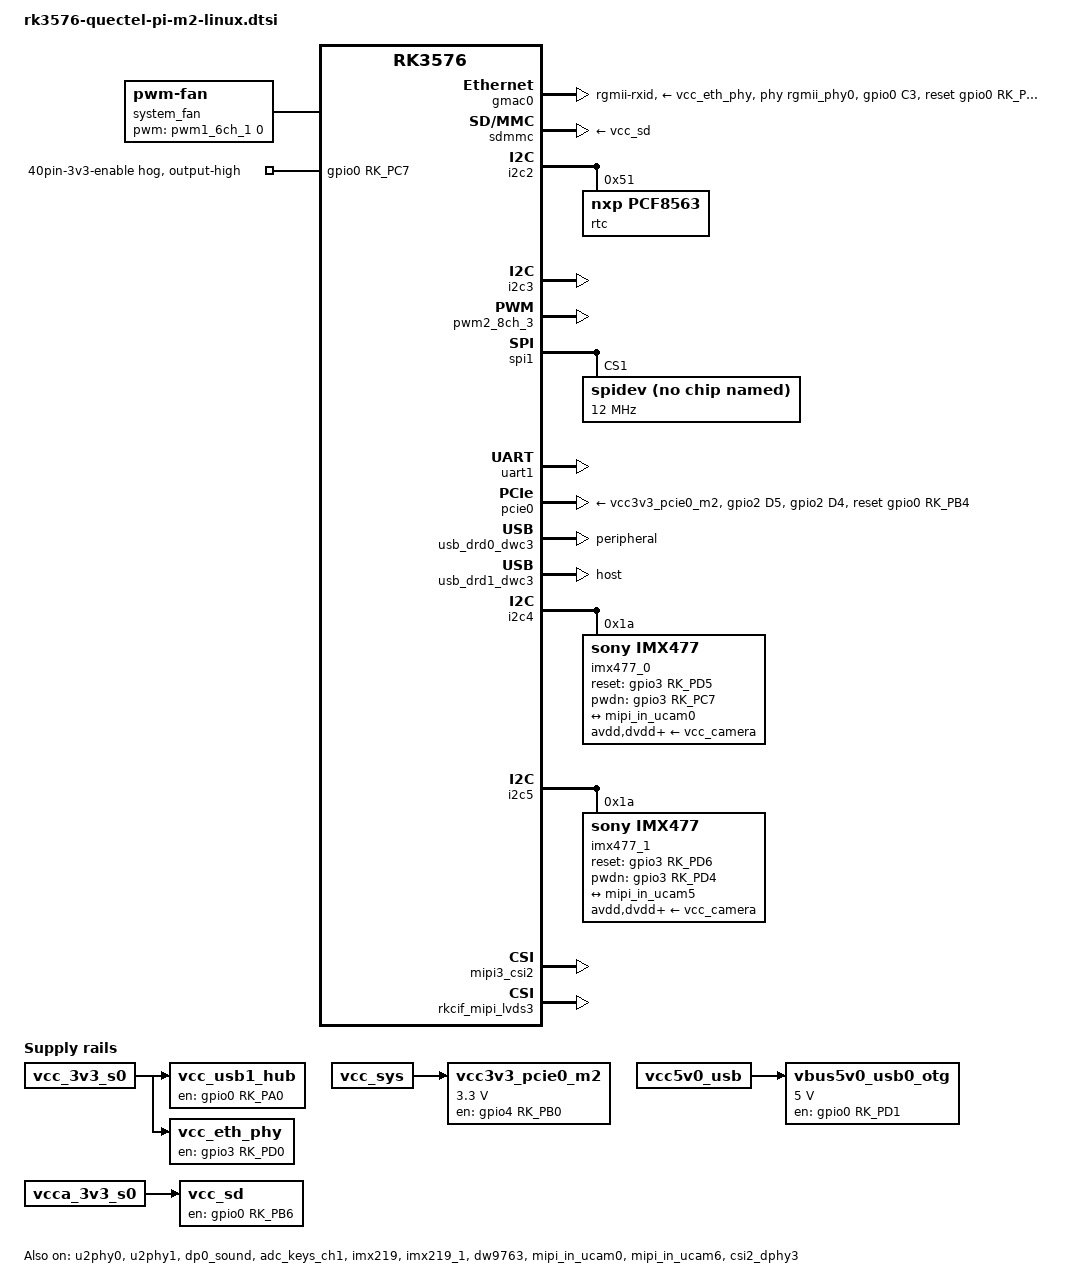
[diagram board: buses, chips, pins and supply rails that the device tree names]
// SPDX-License-Identifier: (GPL-2.0+ OR MIT)
/*
 * Linux board include wrapper for Quectel PI M2.
 * Common hardware shared with SMARC lives in rk3576-quectel-pi-common.dtsi.
 * M2-specific hardware (YT8531 PHY reset, USB Hub, display, etc.) lives here.
 */

#include "rk3576-quectel-pi-common.dtsi"
#include "rk3576-quectel-pi-m2-audio.dtsi"
#include "display/dsi-panel-waveshare-8inch-c-m2.dtsi"
#include "display/rk3576-hdmi-m2.dtsi"

/* ========== M2-specific regulators ========== */

/ {
	vcc_usb1_hub: vcc-usb1-hub {
		compatible = "regulator-fixed";
		regulator-name = "vcc_usb1_hub";
		enable-active-high;
		gpio = <&gpio0 RK_PA0 GPIO_ACTIVE_HIGH>;
		startup-delay-us = <5000>;
		regulator-boot-on;
		regulator-always-on;
		vin-supply = <&vcc_3v3_s0>;
	};

	vcc_eth_phy: vcc-eth-phy {
		compatible = "regulator-fixed";
		regulator-name = "vcc_eth_phy";
		enable-active-high;
		gpio = <&gpio3 RK_PD0 GPIO_ACTIVE_HIGH>;
		startup-delay-us = <10000>;
		regulator-boot-on;
		regulator-always-on;
		vin-supply = <&vcc_3v3_s0>;
	};

	vcc3v3_pcie0_m2: vcc3v3-pcie0-m2 {
		compatible = "regulator-fixed";
		regulator-name = "vcc3v3_pcie0_m2";
		regulator-min-microvolt = <3300000>;
		regulator-max-microvolt = <3300000>;
		enable-active-high;
		/* M2 netlist: U0201 pin300 PCIE1_WAKE_N -> PCIE0_PWR_EN_3V3 */
		gpio = <&gpio4 RK_PB0 GPIO_ACTIVE_HIGH>;
		startup-delay-us = <5000>;
		regulator-boot-on;
		regulator-always-on;
		vin-supply = <&vcc_sys>;
	};

	/*
	 * USB0 OTG VBUS supply (USB-A port power).
	 * M2 netlist: U0201 pin25 LCD_RST -> R0528 -> U0505 ETA6280S2F EN
	 * (pin4), high active. ETA6280S2F OUT (pin1) -> USB0_PORT_OTG -> USB-A
	 * VBUS. Driving GPIO0_D1 high enables 5V output on the USB-A port.
	 *
	 * Managed by the dwc3/usb2-phy driver: host mode enables VBUS
	 * (phy_set_mode -> PHY_MODE_USB_HOST -> rockchip_set_vbus_power true),
	 * peripheral/device mode disables it (PHY_MODE_USB_DEVICE -> false).
	 * This gives active VBUS cut-off in peripheral mode, preventing reverse
	 * power feed when the board is attached to a host PC.
	 */
	vbus5v0_usb0_otg: vbus5v0-usb0-otg {
		compatible = "regulator-fixed";
		regulator-name = "vbus5v0_usb0_otg";
		regulator-min-microvolt = <5000000>;
		regulator-max-microvolt = <5000000>;
		enable-active-high;
		gpio = <&gpio0 RK_PD1 GPIO_ACTIVE_HIGH>;
		pinctrl-names = "default";
		pinctrl-0 = <&usb0_vbus_en>;
		vin-supply = <&vcc5v0_usb>;
	};

	system_fan: pwm-fan {
		compatible = "pwm-fan";
		#cooling-cells = <2>;
		pwms = <&pwm1_6ch_1 0 200000 0>;
		cooling-levels = <0 64 128 192 255>;
		rockchip,temp-trips = <
			30000 1
			40000 2
			50000 3
			60000 4
		>;
	};
};

&vcc_3v3_s0 {
	/*
	 * M2 netlist: GPIO4_A7 / DCDC_EN_3V3 enables the board 3.3V rail
	 * feeding U0509 IN -> WIFI_BT_3V3 -> FCS960K VBAT.
	 */
	enable-active-high;
	gpio = <&gpio4 RK_PA7 GPIO_ACTIVE_HIGH>;
	pinctrl-names = "default";
	pinctrl-0 = <&dcdc_3v3_en>;
	vin-supply = <&vcc_sys>;

	regulator-state-mem {
		regulator-on-in-suspend;
		regulator-suspend-microvolt = <3300000>;
	};
};

&vcc3v3_pcie1 {
	/* GPIO4_A7 is DCDC_EN_3V3 on M2, not a PCIe1 private enable. */
	/delete-property/ gpios;
	/delete-property/ enable-active-high;
	status = "disabled";
};

/* ========== M2 FCS960K Wi-Fi/BT ========== */

&sdio_pwrseq {
	/* GPIO2_B3 is FCS960K PWRKEY/WLAN_EN, not an SDIO reset line. */
	/delete-property/ reset-gpios;
};

&wireless_wlan {
	wifi_chip_type = "aic8800";
	pinctrl-0 = <&wifi_host_wake_irq &wifi_vbat_gpio>;
	WIFI,vbat_gpio = <&gpio3 RK_PA3 GPIO_ACTIVE_HIGH>;
	WIFI,poweren_gpio = <&gpio2 RK_PB3 GPIO_ACTIVE_HIGH>;
	wakeup-source;
};

&wireless_bluetooth {
	/delete-property/ clock-names;
	/delete-property/ BT,reset_gpio;
	wakeup-source;
};

&wifi_poweren_gpio {
	rockchip,pins = <2 RK_PB3 RK_FUNC_GPIO &pcfg_output_high_pull_up>;
};

&pinctrl {
	wireless-wlan {
		wifi_vbat_gpio: wifi-vbat-gpio {
			rockchip,pins = <3 RK_PA3 RK_FUNC_GPIO &pcfg_output_high_pull_up>;
		};
	};

	usb {
		/* GPIO0_D1, USB0_PWR_EN -> ETA6280S2F EN, high active */
		usb0_vbus_en: usb0-vbus-en {
			rockchip,pins = <0 RK_PD1 RK_FUNC_GPIO &pcfg_pull_none>;
		};
	};

	power {
		dcdc_3v3_en: dcdc-3v3-en {
			rockchip,pins = <4 RK_PA7 RK_FUNC_GPIO &pcfg_output_high_pull_up>;
		};
	};
};

&rockchip_suspend {
	/*
	 * Keep the upstream 3.3V rail and FCS960K control pins asserted in
	 * BL31 deep sleep. Hardware probing showed GPIO3_A3/WIFI_BT_PWR_EN_3V3
	 * and GPIO2_B3/WMOB_PWRKEY_WIFI_EN_3V3 stay high, but GPIO4_A7 /
	 * DCDC_EN_3V3 drops low and removes VDD_3V3_SYS, cutting U0509 IN and
	 * therefore FCS960K VBAT.
	 */
	rockchip,power-ctrl =
		<&gpio4 RK_PA7 GPIO_ACTIVE_HIGH>, /* DCDC_EN_3V3 / VDD_3V3_SYS */
		<&gpio3 RK_PA3 GPIO_ACTIVE_HIGH>, /* WIFI_BT_PWR_EN_3V3 */
		<&gpio2 RK_PB3 GPIO_ACTIVE_HIGH>; /* WMOB_PWRKEY_WIFI_EN_3V3 */

	rockchip,sleep-io-ret-config = <
		(0
		| RKPM_VCCIO2_RET_EN /* GPIO4_A7 / DCDC_EN_3V3 */
		| RKPM_VCCIO4_RET_EN /* FCS960K local 3.3V control pads */
		)
	>;
};

/* ========== M2 GMAC (YT8531 PHY, reset-gpios style) ========== */

&gmac0 {
	phy-mode = "rgmii-rxid";
	clock_in_out = "output";

	reset-gpios = <&gpio0 RK_PC3 GPIO_ACTIVE_HIGH>;
	reset-assert-us = <20000>;
	reset-deassert-us = <100000>;

	pinctrl-names = "default";
	pinctrl-0 = <&eth0m0_miim
		     &eth0m0_tx_bus2
		     &eth0m0_rx_bus2
		     &eth0m0_rgmii_clk
		     &eth0m0_rgmii_bus
		     &ethm0_clk0_25m_out
		     &eth_phy_rst>;

	tx_delay = <0x20>;
	/* rx_delay = <0x3f>; */

	phy-handle = <&rgmii_phy0>;
	phy-supply = <&vcc_eth_phy>;
	status = "okay";
};

/* ========== M2 eth PHY reset pinctrl ========== */

&pinctrl {
	eth_phy {
		eth_phy_rst: eth-phy-rst {
			rockchip,pins = <0 RK_PC3 RK_FUNC_GPIO &pcfg_pull_none>;
		};
	};
};

/* ========== M2 40Pin header ========== */

&gpio0 {
	header_3v3_enable_hog: header-3v3-enable-hog {
		gpio-hog;
		gpios = <RK_PC7 GPIO_ACTIVE_HIGH>;
		output-high;
		line-name = "40pin-3v3-enable";
	};
};
/* ========== M2 SD card power: SD_EN (GPIO0_B6) controls SD_3V3 load switch ========== */
&{/} {
	vcc_sd: vcc-sd {
		compatible = "regulator-fixed";
		regulator-name = "vcc_sd";
		enable-active-high;
		gpio = <&gpio0 RK_PB6 GPIO_ACTIVE_HIGH>;
		startup-delay-us = <10000>;
		regulator-boot-on;
		vin-supply = <&vcca_3v3_s0>;
	};
};

&sdmmc {
	broken-cd;			/* Flip-type SD holder has no card-detect switch */
	/delete-property/ sd-uhs-sdr104;	/* M2 SD slot IO is fixed 3.3V, no 1.8V UHS */
	vmmc-supply = <&vcc_sd>;	/* SD_3V3 via load switch controlled by GPIO0_B6 */
};

/* ========== M2 SDIO1 / SPI1 pinmux ========== */

&i2c2 {
	/delete-node/ rtc@32;

	rtc@51 {
		compatible = "nxp,pcf8563";
		reg = <0x51>;
	};
};

&can0 {
	status = "disabled";
};

&i2c3 {
	status = "okay";
};

&pwm2_8ch_3 {
	pinctrl-0 = <&pwm2m2_ch3>;
	status = "okay";
};

&spi1 {
	pinctrl-names = "default";
	pinctrl-0 = <&spi1m1_csn0 &spi1m1_csn1 &spi1m1_pins>;
	status = "okay";

	spidev@1 {
		compatible = "rockchip,spidev";
		reg = <1>;
		spi-max-frequency = <12000000>;
		status = "okay";
	};
};

&uart1 {
	pinctrl-names = "default";
	pinctrl-0 = <&uart1m1_xfer>;
	status = "okay";
};

&pinctrl {
	pcie-5g-hat {
		pcie_5g_hat_pwkey: pcie-5g-hat-pwkey {
			/* 40-pin Pin 29: RGMII1_MDIO_3V3, RPi GPIO5 equivalent */
			rockchip,pins = <2 RK_PD5 RK_FUNC_GPIO &pcfg_pull_none>;
		};

		pcie_5g_hat_reset: pcie-5g-hat-reset {
			/* 40-pin Pin 31: RGMII1_MDC_3V3, RPi GPIO6 equivalent */
			rockchip,pins = <2 RK_PD4 RK_FUNC_GPIO &pcfg_pull_none>;
		};
	};
};

/* ========== M2 PCIe0 (no max-link-speed limit) ========== */

&pcie0 {
	phy-names = "pcie-phy";
	reset-gpios = <&gpio0 RK_PB4 GPIO_ACTIVE_HIGH>;
	pwkey-gpios = <&gpio2 RK_PD5 GPIO_ACTIVE_LOW>;
	modem-reset-gpios = <&gpio2 RK_PD4 GPIO_ACTIVE_HIGH>;
	delay-ms = <3000>;
	modem-reset-pulse-ms = <500>;
	rockchip,perst-inactive-ms = <3000>;
	rockchip,skip-scan-in-resume;
	supports-clkreq;
	pinctrl-names = "default";
	pinctrl-0 = <&pcie0m0_pins &pcie_5g_hat_pwkey &pcie_5g_hat_reset>;
	vpcie3v3-supply = <&vcc3v3_pcie0_m2>;
	status = "okay";
};

/* ========== M2 USB ========== */

&u2phy0 {
	status = "okay";
};

&u2phy0_otg {
	/* VBUS driven by ETA6280S2F load switch via GPIO0_D1.
	 * Driver auto-manages: host mode -> regulator_enable (VBUS on),
	 * peripheral mode -> regulator_disable (VBUS off, no reverse feed). */
	vbus-supply = <&vbus5v0_usb0_otg>;
};

&u2phy1 {
	status = "okay";
};

/* GPIO4_B2 is the M2 speaker PA control, not USB OTG1 VBUS enable.
 * Disable vbus5v0_typec_evb to release GPIO4_B2 for speaker PA,
 * and delete u2phy1_otg's vbus-supply reference to prevent deferred probe
 * (which would block USB1 controller init and CH634M HUB power-on). */
&vbus5v0_typec_evb {
	status = "disabled";
};

&u2phy1_otg {
	/delete-property/ vbus-supply;
};

&usb_drd0_dwc3 {
	dr_mode = "peripheral";
	extcon = <&u2phy0>;
	status = "okay";
};

&usb_drd1_dwc3 {
	dr_mode = "host";
	status = "okay";
};

&usbc1 {
	status = "disabled";
};

/* ========== M2 Display (DSI + HDMI, no DP) ========== */

&route_dp0 {
	status = "disabled";
};

&dp {
	status = "disabled";
};

&dp0 {
	status = "disabled";
};

&dp0_sound {
	status = "okay";
};

/* ========== M2 BOOTKEY ==========
 * BOOTKEY 复用 SARADC1（芯片 Pin18/ADC4），与 VOL_UP 共用引脚。
 * SH603ZA（SMARC）将该通道 disabled，M2 需要重新 enable 并配为 KEY_POWER。
 * 根据硬件文档：BOOTKEY 长按进下载模式；这里提供 Linux 输入事件。
 * press-threshold-microvolt 为初始值，需上板实测调整。
 */
&adc_keys_ch1 {
	status = "okay";

	/delete-node/ v_up_key;

	boot-key {
		label = "bootkey";
		linux,code = <KEY_POWER>;
		press-threshold-microvolt = <45000>;
	};
};

/* VOL_DOWN 未引出，保持 disabled */
&adc_keys_ch5 {
	status = "disabled";
};

/* ========== M2 SATA ==========
 * M2 板未使用 SATA，但 common.dtsi 中为 okay。
 * 休眠唤醒时 combphy2 初始化失败导致 external abort，
 * Oops in ahci_port_resume. Disable SATA to avoid this.
 */
&sata0 {
	status = "disabled";
};

/* ========== M2 Camera (IMX219 + IMX477 coexist candidates) ========== */

/*
 * M2 keeps IMX219 and IMX477 candidate nodes together.
 * Each physical CSI input uses separate endpoints for each candidate sensor;
 * only one sensor should be physically present per connector at a time.
 */
&i2c4 {
	imx477_0: imx477@1a {
		compatible = "sony,imx477";
		reg = <0x1a>;
		status = "okay";
		power-domains = <&power RK3576_PD_VI>;
		avdd-supply = <&vcc_camera>;
		dvdd-supply = <&vcc_camera>;
		dovdd-supply = <&vcc_camera>;
		clocks = <&cru CLK_MIPI_CAMERAOUT_M0>;
		assigned-clocks = <&cru CLK_MIPI_CAMERAOUT_M0>;
		assigned-clock-rates = <24000000>;
		clock-names = "xvclk";
		pinctrl-names = "default", "rockchip,camera_default", "rockchip,camera_sleep";
		pinctrl-0 = <&cam_clk0m0_clk0>;
		pinctrl-1 = <&cam0_reset_active>;
		pinctrl-2 = <&cam0_reset_sleep>;
		reset-gpios = <&gpio3 RK_PD5 GPIO_ACTIVE_HIGH>;
		pwdn-gpios = <&gpio3 RK_PC7 GPIO_ACTIVE_HIGH>;
		rockchip,camera-module-index = <0>;
		rockchip,camera-module-facing = "back";
		rockchip,camera-module-name = "IMX477";
		rockchip,camera-module-lens-name = "default";

		port {
			imx477_out0: endpoint {
				remote-endpoint = <&mipi_in_ucam0>;
				data-lanes = <2 1>;
				link-frequencies = /bits/ 64 <1050000000>;
			};
		};
	};
};

&i2c5 {
	imx477_1: imx477@1a {
		compatible = "sony,imx477";
		reg = <0x1a>;
		status = "okay";
		power-domains = <&power RK3576_PD_VI>;
		avdd-supply = <&vcc_camera>;
		dvdd-supply = <&vcc_camera>;
		dovdd-supply = <&vcc_camera>;
		clocks = <&cru CLK_MIPI_CAMERAOUT_M2>;
		assigned-clocks = <&cru CLK_MIPI_CAMERAOUT_M2>;
		assigned-clock-rates = <24000000>;
		clock-names = "xvclk";
		pinctrl-names = "default", "rockchip,camera_default", "rockchip,camera_sleep";
		pinctrl-0 = <&cam_clk2m0_clk2>;
		pinctrl-1 = <&cam2_reset_active>;
		pinctrl-2 = <&cam2_reset_sleep>;
		reset-gpios = <&gpio3 RK_PD6 GPIO_ACTIVE_HIGH>;
		pwdn-gpios = <&gpio3 RK_PD4 GPIO_ACTIVE_HIGH>;
		rockchip,camera-module-index = <1>;
		rockchip,camera-module-facing = "back";
		rockchip,camera-module-name = "IMX477";
		rockchip,camera-module-lens-name = "default";

		port {
			imx477_out1: endpoint {
				remote-endpoint = <&mipi_in_ucam5>;
				data-lanes = <2 1>;
				link-frequencies = /bits/ 64 <1050000000>;
			};
		};
	};
};

&imx219 {
	status = "okay";
};

&imx219_1 {
	status = "okay";
	clocks = <&cru CLK_MIPI_CAMERAOUT_M2>;
	assigned-clocks = <&cru CLK_MIPI_CAMERAOUT_M2>;
	assigned-clock-rates = <24000000>;
	pinctrl-0 = <&cam_clk2m0_clk2>;
	pinctrl-1 = <&cam2_reset_active>;
	pinctrl-2 = <&cam2_reset_sleep>;
	reset-gpios = <&gpio3 RK_PD6 GPIO_ACTIVE_LOW>;
	pwdn-gpios = <&gpio3 RK_PD4 GPIO_ACTIVE_LOW>;
};

&imx219_out0 {
	remote-endpoint = <&mipi_in_ucam0_imx219>;
};

&csi2_dcphy0 {
	ports {
		port@0 {
			mipi_in_ucam0_imx219: endpoint@2 {
				reg = <2>;
				remote-endpoint = <&imx219_out0>;
				data-lanes = <2 1>;
			};
		};
	};
};

&imx219_out1 {
	remote-endpoint = <&mipi_in_ucam6>;
};

&dw9763 {
	status = "okay";
};

&mipi_in_ucam0 {
	status = "okay";
	remote-endpoint = <&imx477_out0>;
	data-lanes = <2 1>;
};

&mipi_in_ucam3 {
	/delete-property/ remote-endpoint;
};

&mipi_in_ucam5 {
	remote-endpoint = <&imx477_out1>;
	data-lanes = <2 1>;
};

&mipi_in_ucam6 {
	status = "okay";
	remote-endpoint = <&imx219_out1>;
	data-lanes = <2 1>;
};

&csi2_dphy3 {
	status = "okay";
};

&mipi3_csi2 {
	status = "okay";
};

&rkcif_mipi_lvds3 {
	status = "okay";
};

/* GPIO0_C6 is the codec_vdd3v3 control, not CCLOGIC. */
&usbc0 {
	status = "disabled";
};
